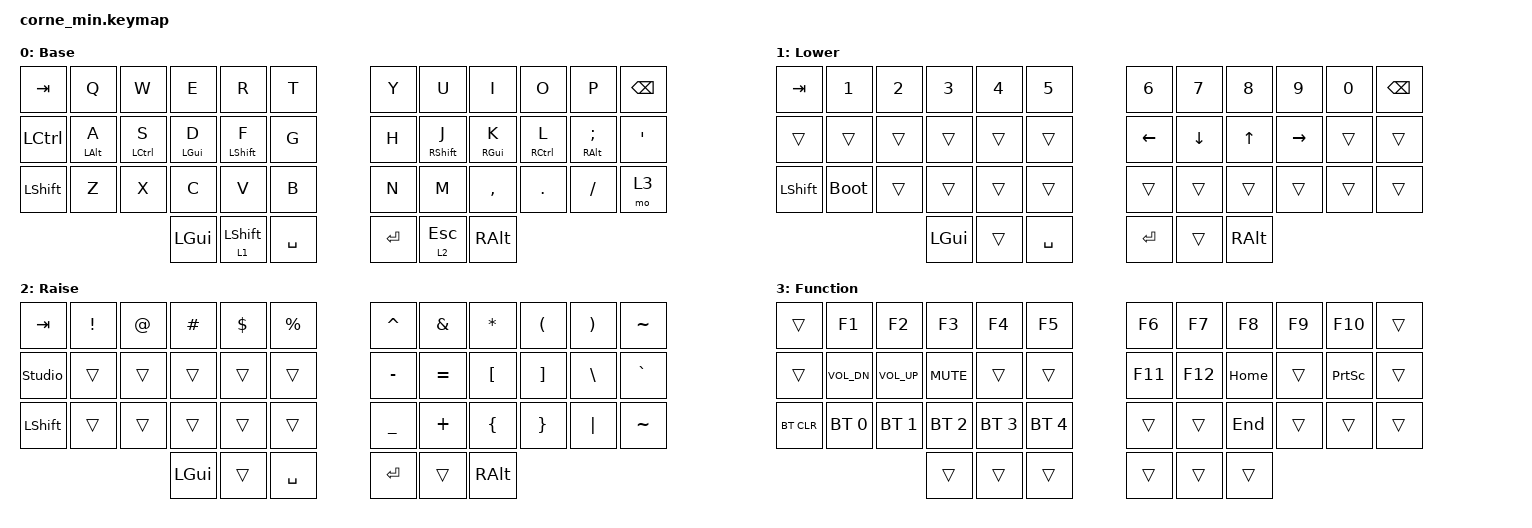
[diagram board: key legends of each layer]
/*
 * Copyright (c) 2020 The ZMK Contributors
 *
 * SPDX-License-Identifier: MIT
 */

#include <behaviors.dtsi>
#include <dt-bindings/zmk/keys.h>
#include <dt-bindings/zmk/bt.h>

/ {

        behaviors {
                j_escape_150: j_escape_150 {
                        compatible = "zmk,behavior-tap-dance";
                        #binding-cells = <0>;
                        tapping-term-ms = <150>;
                        bindings = <&kp J>, <&kp ESC>;
                };

                hml: home_row_mod_left {
                        compatible = "zmk,behavior-hold-tap";
                        #binding-cells = <2>;

                        flavor = "balanced";
                        tapping-term-ms = <250>;
                        quick-tap-ms = <200>;
                        require-prior-idle-ms = <125>;

                        bindings = <&kp>, <&kp>;

                        hold-trigger-key-positions = <6 7 8 9 10 11 18 19 20 21 22 23 30 31 32 33 34 35 39 40 41>;
                        hold-trigger-on-release;
                };

                hmr: home_row_mod_right {
                        compatible = "zmk,behavior-hold-tap";
                        #binding-cells = <2>;

                        flavor = "balanced";
                        tapping-term-ms = <250>;
                        quick-tap-ms = <200>;
                        require-prior-idle-ms = <125>;

                        bindings = <&kp>, <&kp>;

                        hold-trigger-key-positions =
                                <0 1 2 3 4 5 12 13 14 15 16 17
                                24 25 26 27 28 29 36 37 38>;
                                hold-trigger-on-release;
                };

                skq: sticky_key_quick_release {
                        compatible = "zmk,behavior-sticky-key";
                        #binding-cells = <1>;
                        bindings = <&kp>;

                        release-after-ms = <1000>;
                        quick-release;
                };

                lower_shift: lower_shift {
                        compatible = "zmk,behavior-hold-tap";
                        #binding-cells = <2>;

                        flavor = "tap-preferred";
                        tapping-term-ms = <200>;
                        quick-tap-ms = <150>;

                        bindings = <&mo>, <&skq>;
                };
        };

        keymap {
                compatible = "zmk,keymap";

                default_layer {
                            display-name = "Base";
// -----------------------------------------------------------------------------------------
// |  TAB |  Q  |  W  |  E  |  R  |  T  |   |  Y  |  U   |  I  |  O  |  P  | BSPC |
// | CTRL | A/ALT | S/CTL | D/GUI | F/SFT | G |   | H | J/SFT | K/GUI | L/CTL | ;/ALT | ' |
// | SHFT |  Z  |  X  |  C  |  V  |  B  |   |  N  |  M   |  ,  |  .  |  /  | FN   |
//                    | GUI | LWR/SFT | SPC |   | ENT | RSE/ESC | ALT |
                        bindings = <
   &kp TAB   &kp Q &kp W &kp E &kp R &kp T   &kp Y &kp U  &kp I     &kp O   &kp P    &kp BSPC
   &kp LCTRL &hml LALT A &hml LCTRL S &hml LGUI D &hml LSHFT F &kp G   &kp H &hmr RSHFT J &hmr RGUI K &hmr RCTRL L &hmr RALT SEMI &kp SQT
   &kp LSHFT &kp Z &kp X &kp C &kp V &kp B   &kp N &kp M  &kp COMMA &kp DOT &kp FSLH &mo 3
                  &kp LGUI &lower_shift 1 LSHFT &kp SPACE   &kp RET &lt 2 ESC &kp RALT
                        >;
                };
                lower_layer {
                        display-name = "Lower";
// -----------------------------------------------------------------------------------------
// |  TAB |  1  |  2  |  3  |  4  |  5  |   |  6  |  7  |  8  |  9  |  0  | BSPC |
// |      |     |     |     |     |     |   | LFT | DWN |  UP | RGT |     |      |
// | SHFT | BOOT|     |     |     |     |   |     |     |     |     |     |      |
//                    | GUI |     | SPC |   | ENT |     | ALT |
                        bindings = <
   &kp TAB    &kp N1       &kp N2       &kp N3       &kp N4       &kp N5         &kp N6   &kp N7   &kp N8 &kp N9    &kp N0 &kp BSPC
   &trans     &trans       &trans       &trans       &trans       &trans         &kp LEFT &kp DOWN &kp UP &kp RIGHT &trans &trans
   &kp LSHFT  &bootloader  &trans       &trans       &trans       &trans         &trans   &trans   &trans &trans    &trans &trans
                                    &kp LGUI     &trans       &kp SPACE      &kp RET  &trans   &kp RALT
                        >;
                };

                raise_layer {
                        display-name = "Raise";
// -----------------------------------------------------------------------------------------
// |  TAB |  !  |  @  |  #  |  $  |  %  |   |  ^  |  &  |  *  |  (  |  )  |   ~  |
// | CTRL |     |     |     |     |     |   |  -  |  =  |  [  |  ]  |  \  |  `   |
// | SHFT |     |     |     |     |     |   |  _  |  +  |  {  |  }  | "|" |  ~   |
//                    | GUI |     | SPC |   | ENT |     | ALT |
                        bindings = <
   &kp  TAB  &kp EXCL &kp AT &kp HASH &kp DLLR &kp PRCNT   &kp CARET &kp AMPS  &kp ASTRK &kp LPAR &kp RPAR &kp TILDE 
   &studio_unlock &trans   &trans &trans   &trans   &trans      &kp MINUS &kp EQUAL &kp LBKT  &kp RBKT &kp BSLH &kp GRAVE
   &kp LSHFT &trans   &trans &trans   &trans   &trans      &kp UNDER &kp PLUS  &kp LBRC  &kp RBRC &kp PIPE &kp TILDE
                             &kp LGUI &trans   &kp SPACE   &kp RET   &trans    &kp RALT
                        >;
                };

                extra1 {
                        display-name = "Function";
// -----------------------------------------------------------------------------------------
// |      |  F1 |  F2 |  F3 |  F4 |  F5 |   |  F6 |  F7 |  F8 |  F9 | F10 |      |
// |      | VDN | VUP | MUT |     |     |   | F11 | F12 | HOME|     | PSCR|      |
// | BTCLR| BT1 | BT2 | BT3 | BT4 | BT5 |   |     |     | END |     |     |      |
//                    |     |     |     |   |     |     |     |
                        bindings = <
   &trans &kp F1  &kp F2   &kp F3 &kp F4 &kp F5   &kp F6  &kp F7  &kp F8 &kp F9 &kp F10  &trans
   &trans &kp C_VOL_DN &kp C_VOL_UP &kp C_MUTE &trans &trans   &kp F11 &kp F12 &kp HOME &trans &kp PSCRN &trans
   &bt BT_CLR &bt BT_SEL 0 &bt BT_SEL 1 &bt BT_SEL 2 &bt BT_SEL 3 &bt BT_SEL 4   &trans &trans &kp END &trans &trans &trans
                            &trans &trans &trans   &trans &trans &trans
                        >;
                };

                extra2 {
                        display-name = "Extra-2";
                        status = "reserved";
                };

                extra3 {
                        display-name = "Extra-3";
                        status = "reserved";
                };
        };
};
